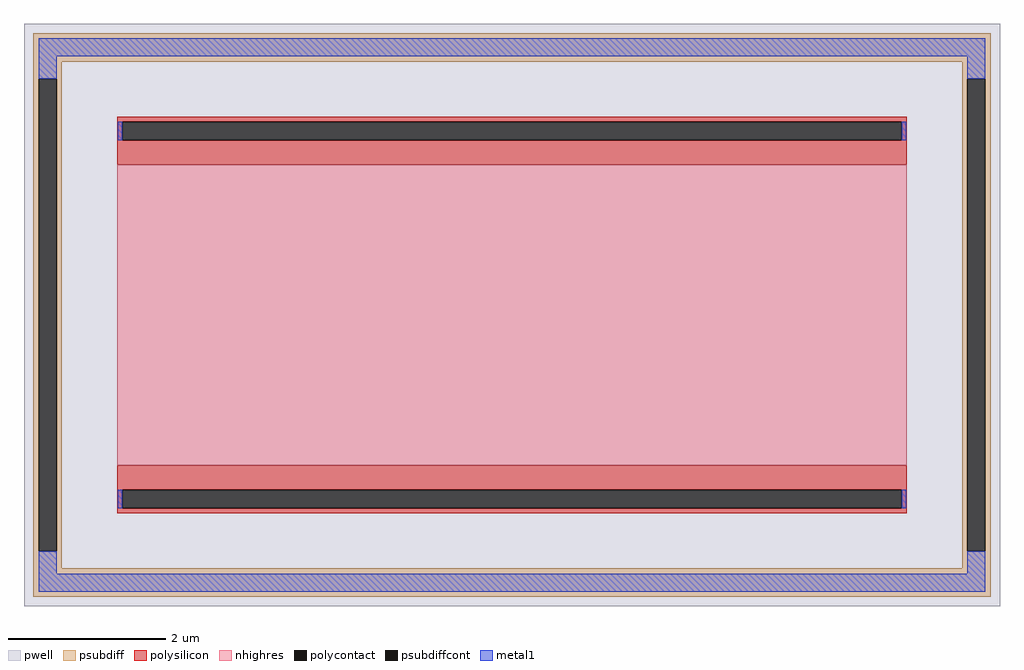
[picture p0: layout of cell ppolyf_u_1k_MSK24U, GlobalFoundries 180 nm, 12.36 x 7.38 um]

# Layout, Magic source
magic
tech gf180mcuD
magscale 1 10
<< pwell >>
rect -1236 -738 1236 738
<< psubdiff >>
rect -1212 642 1212 714
rect -1212 598 -1140 642
rect -1212 -598 -1199 598
rect -1153 -598 -1140 598
rect 1140 598 1212 642
rect -1212 -642 -1140 -598
rect 1140 -598 1153 598
rect 1199 -598 1212 598
rect 1140 -642 1212 -598
rect -1212 -714 1212 -642
<< psubdiffcont >>
rect -1199 -598 -1153 598
rect 1153 -598 1199 598
<< polysilicon >>
rect -1000 489 1000 502
rect -1000 443 -987 489
rect 987 443 1000 489
rect -1000 380 1000 443
rect -1000 -443 1000 -380
rect -1000 -489 -987 -443
rect 987 -489 1000 -443
rect -1000 -502 1000 -489
<< polycontact >>
rect -987 443 987 489
rect -987 -489 987 -443
<< nhighres >>
rect -1000 -380 1000 380
<< metal1 >>
rect -1199 655 1199 701
rect -1199 598 -1153 655
rect 1153 598 1199 655
rect -998 443 -987 489
rect 987 443 998 489
rect -998 -489 -987 -443
rect 987 -489 998 -443
rect -1199 -655 -1153 -598
rect 1153 -655 1199 -598
rect -1199 -701 1199 -655
<< properties >>
string FIXED_BBOX -1176 -678 1176 678
string gencell ppolyf_u_1k
string library gf180mcu
string parameters w 10.0 l 3.8 m 1 nx 1 wmin 1.000 lmin 1.000 class resistor rho 1000 val 380.0 dummy 0 dw 0.0 term 0.0 sterm 0.0 caplen 0.4 snake 0 glc 1 grc 1 gtc 0 gbc 0 roverlap 0 endcov 100 full_metal 1 compatible {ppolyf_u_1k ppolyf_u_1k_6p0}
<< end >>
